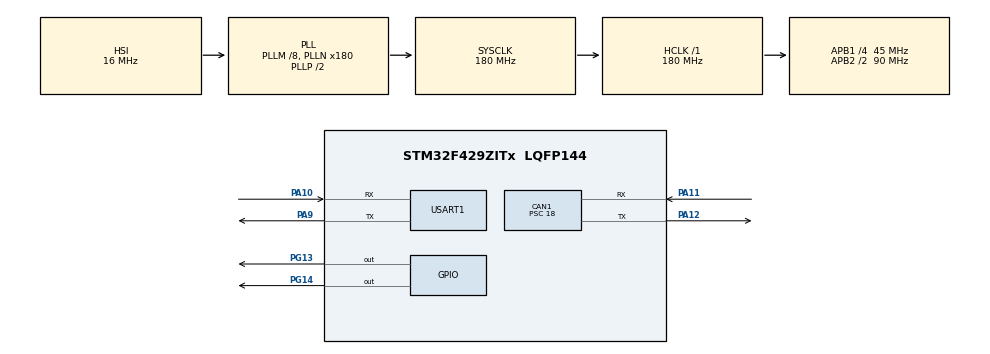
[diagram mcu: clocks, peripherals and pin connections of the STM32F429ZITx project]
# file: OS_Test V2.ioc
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CAN1.BS1=CAN_BS1_2TQ
CAN1.BS2=CAN_BS2_2TQ
CAN1.CalculateBaudRate=500000
CAN1.CalculateTimeBit=2000
CAN1.CalculateTimeQuantum=400.0
CAN1.Prescaler=18
FREERTOS.Tasks01=defaultTask,0,128,StartDefaultTask,Default,NULL,Dynamic,NULL,NULL
Mcu.Family=STM32F4
Mcu.Name=STM32F429ZITx
Mcu.Package=LQFP144
NVIC.PriorityGroup=NVIC_PRIORITYGROUP_4
PA10.Mode=Asynchronous
PA10.Signal=USART1_RX
PA11.Mode=CAN_Activate
PA11.Signal=CAN1_RX
PA12.Mode=CAN_Activate
PA12.Signal=CAN1_TX
PA9.Mode=Asynchronous
PA9.Signal=USART1_TX
PG13.Signal=GPIO_Output
PG14.Signal=GPIO_Output
ProjectManager.HeapSize=0x200
ProjectManager.StackSize=0x400
ProjectManager.TargetToolchain=STM32CubeIDE
RCC.48MHZClocksFreq_Value=90000000
RCC.AHBFreq_Value=180000000
RCC.APB1CLKDivider=RCC_HCLK_DIV4
RCC.APB1Freq_Value=45000000
RCC.APB1TimFreq_Value=90000000
RCC.APB2CLKDivider=RCC_HCLK_DIV2
RCC.APB2Freq_Value=90000000
RCC.APB2TimFreq_Value=180000000
RCC.CortexFreq_Value=180000000
RCC.HCLKFreq_Value=180000000
RCC.HSE_VALUE=25000000
RCC.HSI_VALUE=16000000
RCC.LSE_VALUE=32768
RCC.PLLM=8
RCC.PLLN=180
RCC.SYSCLKFreq_VALUE=180000000
RCC.SYSCLKSource=RCC_SYSCLKSOURCE_PLLCLK
RCC.VCOOutputFreq_Value=360000000
USART1.VirtualMode=VM_ASYNC
VP_FREERTOS_VS_CMSIS_V1.Mode=CMSIS_V1
VP_RTC_VS_RTC_Activate.Mode=RTC_Enabled
board=custom

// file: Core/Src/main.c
/* USER CODE BEGIN Header */
/**
 ******************************************************************************
 * @file           : main.c
 * @brief          : Main program body
 ******************************************************************************
 * @attention
 *
 * Copyright (c) 2022 STMicroelectronics.
 * All rights reserved.
 *
 * This software is licensed under terms that can be found in the LICENSE file
 * in the root directory of this software component.
 * If no LICENSE file comes with this software, it is provided AS-IS.
 *
 ******************************************************************************
 */
/* USER CODE END Header */
#include "main.h"
#include "cmsis_os.h"

/* USER CODE BEGIN Includes */
#include <stdio.h>
#include "ota_update.h"
/* USER CODE END Includes */

CAN_HandleTypeDef hcan1;
RTC_HandleTypeDef hrtc;
UART_HandleTypeDef huart1;

osThreadId defaultTaskHandle;

/* USER CODE BEGIN PV */
CAN_RxHeaderTypeDef RxHeader;
CAN_TxHeaderTypeDef TxHeader;
uint32_t TxMailbox;
uint8_t RxData[8];
uint8_t TxData[8];

/* USER CODE END PV */

void SystemClock_Config(void);
static void MX_GPIO_Init(void);
static void MX_USART1_UART_Init(void);
static void MX_RTC_Init(void);
static void MX_CAN1_Init(void);
void StartDefaultTask(void const *argument);

/* USER CODE BEGIN 0 */

void LED_Test(void *pvparameters) {
	char temp2[] = "Main Task  <Ver 2>\r\n";
	for (;;) {
		HAL_UART_Transmit(&huart1, (uint8_t*) temp2, strlen(temp2), 10);
		HAL_GPIO_TogglePin(GPIOG, GPIO_PIN_14);
		//HAL_GPIO_WritePin( GPIOG, GPIO_PIN_13, GPIO_PIN_SET);  // Red LED ON
		//HAL_Delay(1000);
		//HAL_GPIO_WritePin( GPIOG, GPIO_PIN_14, GPIO_PIN_RESET); //Red LED OFF
		//HAL_Delay(2000);
		vTaskDelay(2000 / portTICK_RATE_MS);
	}
}

void OTA_TASK(void *pvparameters) {

	for (;;) {
		/*
		 taskENTER_CRITICAL();
		 HAL_UART_Transmit(&huart1, (uint8_t*) temp, strlen(temp), 10);
		 taskEXIT_CRITICAL();
		 */
		// Trigger a Usage fault by executing an illegal instruction
		//__asm volatile ("udf #0");
		// Receive Can Frame and process it.
		printf("OTA \r\n");
		while (HAL_CAN_GetRxFifoFillLevel(&hcan1, CAN_RX_FIFO0) == 0) {
		};
		HAL_CAN_GetRxMessage(&hcan1, CAN_RX_FIFO0, &RxHeader, RxData);
		bootloader_can_read_data();
	}

}

void myTask(void *pvParameters) {
	TickType_t startTime, endTime, executionTime;

	for (;;) {
		// Get the tick count at the start of the task
		startTime = xTaskGetTickCount();

		// Task code that should execute within 10 ms
		// ...
		vTaskDelay(8 / portTICK_RATE_MS);
		// Get the tick count at the end of the task
		endTime = xTaskGetTickCount();

		// Calculate the execution time
		executionTime = endTime - startTime;

		// Check if the task finished within the time constraint
		if (executionTime <= pdMS_TO_TICKS(10)) {
			// Task completed within the constraint

			printf("myTask finished on time \r\n");
			HAL_Delay(1000);
			// ...
		} else {
			// Task took longer than the constraint
			printf("myTask took longer than 10ms \r\n");
			// ...
		}

	}

}

/* USER CODE END 0 */

int main(void) {

	/* MCU Configuration--------------------------------------------------------*/

	/* Reset of all peripherals, Initializes the Flash interface and the Systick. */
	HAL_Init();

	/* USER CODE BEGIN Init */
	SCB->SHCSR |= SCB_SHCSR_MEMFAULTENA_Msk;
	SCB->SHCSR |= SCB_SHCSR_BUSFAULTENA_Msk;
	SCB->SHCSR |= SCB_SHCSR_USGFAULTENA_Msk;

	/* USER CODE END Init */

	/* Configure the system clock */
	SystemClock_Config();

	/* Initialize all configured peripherals */
	MX_GPIO_Init();
	MX_USART1_UART_Init();
	MX_RTC_Init();
	MX_CAN1_Init();
	/* USER CODE BEGIN 2 */
	HAL_CAN_Start(&hcan1);
	xTaskCreate(OTA_TASK, (const char* const ) "ota task", 240, 0, 1, NULL);
	xTaskCreate(LED_Test, (const char* const ) "main task", 240, 0, 3, NULL);
	//xTaskCreate(myTask, (const char* const ) "my task", 240, 0, 2, NULL);
	TxHeader.DLC = 1;
	TxHeader.ExtId = 0;
	TxHeader.IDE = CAN_ID_STD;
	TxHeader.RTR = CAN_RTR_DATA;
	TxHeader.StdId = 0x99;

	//execute_flash_erase(11,1);
	//execute_flash_erase(23,1);
	/* USER CODE END 2 *2=/

	/* Create the thread(s) */
	/* definition and creation of defaultTask */
	//  osThreadDef(defaultTask, StartDefaultTask, osPriorityNormal, 0, 128);
	//  defaultTaskHandle = osThreadCreate(osThread(defaultTask), NULL);

	/* Start scheduler */
	osKernelStart();

	/* We should never get here as control is now taken by the scheduler */
	/* Infinite loop */
	while (1) {

	}
}

void SystemClock_Config(void) {
	RCC_OscInitTypeDef RCC_OscInitStruct = { 0 };
	RCC_ClkInitTypeDef RCC_ClkInitStruct = { 0 };

	/** Configure the main internal regulator output voltage
	 */
	__HAL_RCC_PWR_CLK_ENABLE();
	__HAL_PWR_VOLTAGESCALING_CONFIG(PWR_REGULATOR_VOLTAGE_SCALE1);

	/** Initializes the RCC Oscillators according to the specified parameters
	 * in the RCC_OscInitTypeDef structure.
	 */
	RCC_OscInitStruct.OscillatorType = RCC_OSCILLATORTYPE_HSI
			| RCC_OSCILLATORTYPE_LSI;
	RCC_OscInitStruct.HSIState = RCC_HSI_ON;
	RCC_OscInitStruct.HSICalibrationValue = RCC_HSICALIBRATION_DEFAULT;
	RCC_OscInitStruct.LSIState = RCC_LSI_ON;
	RCC_OscInitStruct.PLL.PLLState = RCC_PLL_ON;
	RCC_OscInitStruct.PLL.PLLSource = RCC_PLLSOURCE_HSI;
	RCC_OscInitStruct.PLL.PLLM = 8;
	RCC_OscInitStruct.PLL.PLLN = 180;
	RCC_OscInitStruct.PLL.PLLP = RCC_PLLP_DIV2;
	RCC_OscInitStruct.PLL.PLLQ = 4;
	if (HAL_RCC_OscConfig(&RCC_OscInitStruct) != HAL_OK) {
		Error_Handler();
	}

	/** Activate the Over-Drive mode
	 */
	if (HAL_PWREx_EnableOverDrive() != HAL_OK) {
		Error_Handler();
	}

	/** Initializes the CPU, AHB and APB buses clocks
	 */
	RCC_ClkInitStruct.ClockType = RCC_CLOCKTYPE_HCLK | RCC_CLOCKTYPE_SYSCLK
			| RCC_CLOCKTYPE_PCLK1 | RCC_CLOCKTYPE_PCLK2;
	RCC_ClkInitStruct.SYSCLKSource = RCC_SYSCLKSOURCE_PLLCLK;
	RCC_ClkInitStruct.AHBCLKDivider = RCC_SYSCLK_DIV1;
	RCC_ClkInitStruct.APB1CLKDivider = RCC_HCLK_DIV4;
	RCC_ClkInitStruct.APB2CLKDivider = RCC_HCLK_DIV2;

	if (HAL_RCC_ClockConfig(&RCC_ClkInitStruct, FLASH_LATENCY_5) != HAL_OK) {
		Error_Handler();
	}
}

static void MX_CAN1_Init(void) {

	hcan1.Instance = CAN1;
	hcan1.Init.Prescaler = 18;
	hcan1.Init.Mode = CAN_MODE_NORMAL;
	hcan1.Init.SyncJumpWidth = CAN_SJW_1TQ;
	hcan1.Init.TimeSeg1 = CAN_BS1_2TQ;
	hcan1.Init.TimeSeg2 = CAN_BS2_2TQ;
	hcan1.Init.TimeTriggeredMode = DISABLE;
	hcan1.Init.AutoBusOff = DISABLE;
	hcan1.Init.AutoWakeUp = DISABLE;
	hcan1.Init.AutoRetransmission = DISABLE;
	hcan1.Init.ReceiveFifoLocked = DISABLE;
	hcan1.Init.TransmitFifoPriority = DISABLE;
	if (HAL_CAN_Init(&hcan1) != HAL_OK) {
		Error_Handler();
	}

	CAN_FilterTypeDef canfilterconfig;

	canfilterconfig.FilterActivation = CAN_FILTER_ENABLE;
	canfilterconfig.FilterBank = 18;
	canfilterconfig.FilterFIFOAssignment = CAN_RX_FIFO0;
	canfilterconfig.FilterIdHigh = 0;
	canfilterconfig.FilterIdLow = 0x0000;
	canfilterconfig.FilterMaskIdHigh = 0x000;
	canfilterconfig.FilterMaskIdLow = 0x0000;
	canfilterconfig.FilterMode = CAN_FILTERMODE_IDMASK;
	canfilterconfig.FilterScale = CAN_FILTERSCALE_32BIT;
	canfilterconfig.SlaveStartFilterBank = 20;

	HAL_CAN_ConfigFilter(&hcan1, &canfilterconfig);

}

static void MX_RTC_Init(void) {

	/** Initialize RTC Only
	 */
	hrtc.Instance = RTC;
	hrtc.Init.HourFormat = RTC_HOURFORMAT_24;
	hrtc.Init.AsynchPrediv = 127;
	hrtc.Init.SynchPrediv = 255;
	hrtc.Init.OutPut = RTC_OUTPUT_DISABLE;
	hrtc.Init.OutPutPolarity = RTC_OUTPUT_POLARITY_HIGH;
	hrtc.Init.OutPutType = RTC_OUTPUT_TYPE_OPENDRAIN;
	if (HAL_RTC_Init(&hrtc) != HAL_OK) {
		Error_Handler();
	}

}

static void MX_USART1_UART_Init(void) {

	huart1.Instance = USART1;
	huart1.Init.BaudRate = 115200;
	huart1.Init.WordLength = UART_WORDLENGTH_8B;
	huart1.Init.StopBits = UART_STOPBITS_1;
	huart1.Init.Parity = UART_PARITY_NONE;
	huart1.Init.Mode = UART_MODE_TX_RX;
	huart1.Init.HwFlowCtl = UART_HWCONTROL_NONE;
	huart1.Init.OverSampling = UART_OVERSAMPLING_16;
	if (HAL_UART_Init(&huart1) != HAL_OK) {
		Error_Handler();
	}

}

static void MX_GPIO_Init(void) {
	GPIO_InitTypeDef GPIO_InitStruct = { 0 };

	/* GPIO Ports Clock Enable */
	__HAL_RCC_GPIOA_CLK_ENABLE();
	__HAL_RCC_GPIOG_CLK_ENABLE();

	/*Configure GPIO pin Output Level */
	HAL_GPIO_WritePin(GPIOG, GPIO_PIN_13 | GPIO_PIN_14, GPIO_PIN_RESET);

	/*Configure GPIO pins : PG13 PG14 */
	GPIO_InitStruct.Pin = GPIO_PIN_13 | GPIO_PIN_14;
	GPIO_InitStruct.Mode = GPIO_MODE_OUTPUT_PP;
	GPIO_InitStruct.Pull = GPIO_NOPULL;
	GPIO_InitStruct.Speed = GPIO_SPEED_FREQ_LOW;
	HAL_GPIO_Init(GPIOG, &GPIO_InitStruct);

}

/**
 * @brief Print the characters to UART (printf).
 * @retval int
 */
#ifdef __GNUC__
/* With GCC, small printf (option LD Linker->Libraries->Small printf
 set to 'Yes') calls __io_putchar() */
int __io_putchar(int ch)
#else
int fputc(int ch, FILE *f)
#endif /* __GNUC__ */
{
	/* Place your implementation of fputc here */
	/* e.g. write a character to the UART1 and Loop until the end of transmission */
	HAL_UART_Transmit(&huart1, (uint8_t*) &ch, 1, HAL_MAX_DELAY);
	return ch;
}

/* USER CODE END 4 */

void StartDefaultTask(void const *argument) {
	for (;;) {
		osDelay(1);
	}
}

void Error_Handler(void) {
	__disable_irq();
	while (1) {
	}
}
